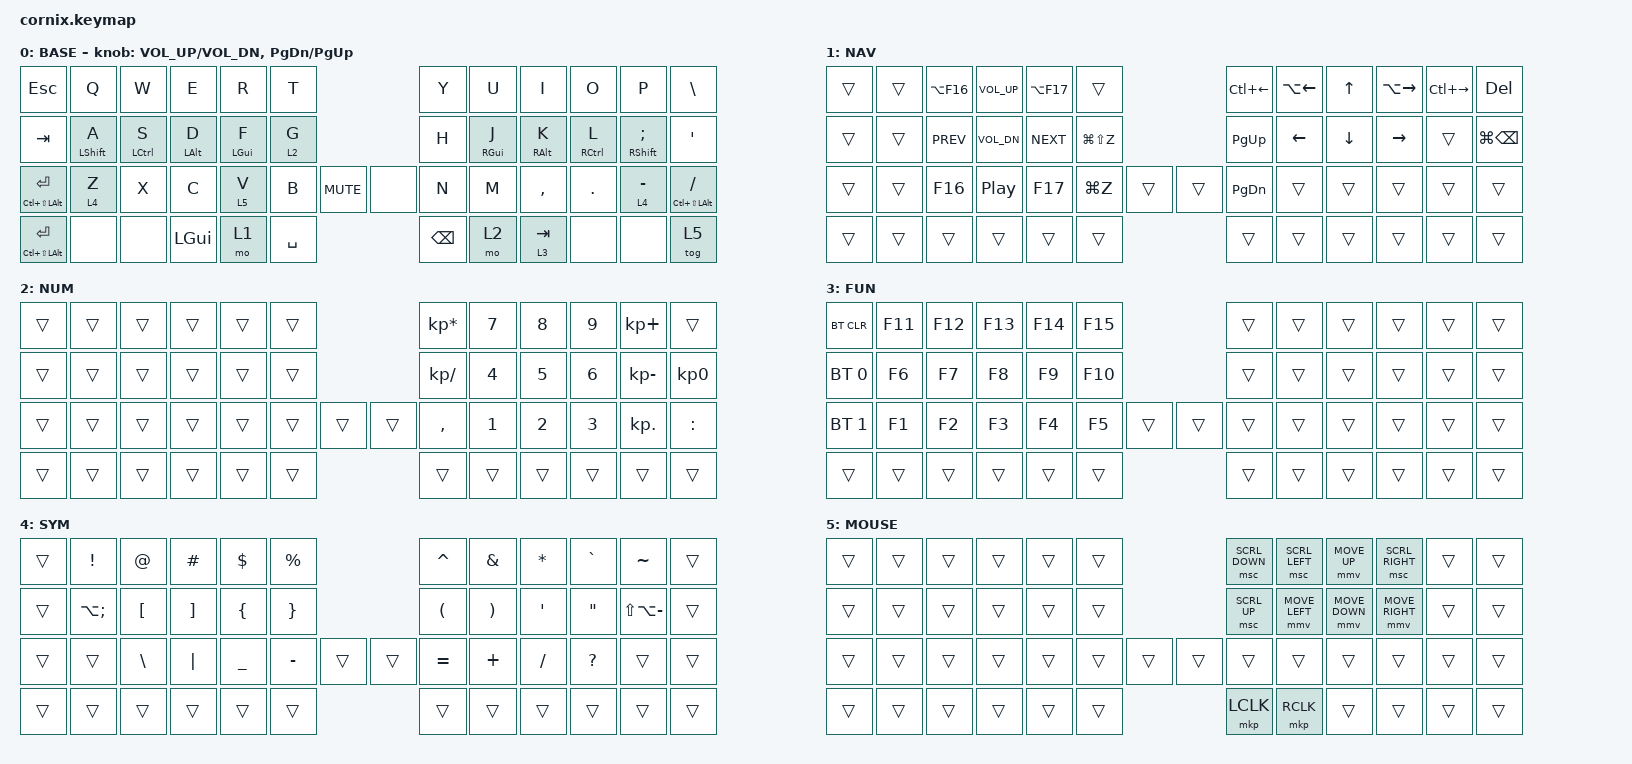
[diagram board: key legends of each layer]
/*
 * Copyright (c) 2020 The ZMK Contributors
 *
 * SPDX-License-Identifier: MIT
 */

#include <behaviors.dtsi>
#include <dt-bindings/zmk/keys.h>
#include <dt-bindings/zmk/bt.h>

/* Editor-friendly notes:
 * - Layer ids: BASE=0, NAV=1, NUM=2, FUN=3, SYM=4, MOUSE=5.
 * - Aliases expanded inline: ___=&trans, PLAY=C_PP, NEXT=C_NEXT, PREV=C_PREV,
 *   VOL_DN=C_VOL_DN, VOL_UP=C_VOL_UP, KAST=KP_ASTERISK, KPSL=KP_SLASH,
 *   MDASH=LS(LA(MINUS)), NXTB=F17, PVTB=F16, FWD=LA(F17), BCK=LA(F16),
 *   UMDO=LG(Z), REDO=LG(LS(Z)), MEH=LC(LS(LALT)).
 * - Homerow mods: custom &hml/&hmr replaced with standard &mt for editor support.
 */

#include "includes/combos.dtsi"
#include "includes/mouse.dtsi"

/ {
   keymap {
      compatible = "zmk,keymap";

      default_layer {
         display-name = "BASE";
         bindings = <
// ╭──────────────┬──────────────┬──────────────┬──────────────┬──────────────┬──────────────╮                               ╭──────────────┬──────────────┬──────────────┬──────────────┬────────────────┬──────────────╮
     &kp ESC        &kp Q          &kp W          &kp E          &kp R          &kp T                                          &kp Y          &kp U          &kp I          &kp O          &kp P            &kp BSLH   
// ├──────────────┼──────────────┼──────────────┼──────────────┼──────────────┼──────────────┤                               ├──────────────┼──────────────┼──────────────┼──────────────┼────────────────┼──────────────┤
     &kp TAB        &mt LSHFT A    &mt LCTRL S    &mt LALT D     &mt LGUI F     &lt 2 G /* editor: NUM layer */                 &kp H          &mt RGUI J     &mt RALT K     &mt RCTRL L    &mt RSHFT SEMI   &kp SQT   
// ├──────────────┼──────────────┼──────────────┼──────────────┼──────────────┼──────────────┤──────────────╮ ╭──────────────├──────────────┼──────────────┼──────────────┼──────────────┼────────────────┼──────────────┤
     &mt LC(LS(LALT)) RET /* editor: was MEH */ &lt 4 Z      &kp X          &kp C          &lt 5 V        &kp B          &kp C_MUTE       &none          &kp N          &kp M          &kp COMMA      &kp DOT        &lt 4 MINUS      &mt LC(LS(LALT)) SLASH /* editor: was MEH */
// ╰──────────────┴──────────────┴──────────────┴──────────────┼──────────────┼──────────────┤──────────────╯ ╰──────────────├──────────────┼──────────────┼──────────────┼──────────────┼────────────────┼──────────────╯
     &mt LC(LS(LALT)) RET /* editor: was MEH */ &none          &none          &kp LGUI       &mo 1 /* editor: NAV layer */     &kp SPACE                                      &kp BKSP       &mo 2 /* editor: NUM layer */ &lt 3 TAB     &none          &none            &tog 5 /* editor: MOUSE layer */
// ╰──────────────┴──────────────┴──────────────┴──────────────┴──────────────┴──────────────╯                               ╰──────────────┴──────────────┴──────────────┴──────────────┴────────────────┴──────────────╯ 
         >;
         sensor-bindings = <&inc_dec_kp C_VOL_UP C_VOL_DN &inc_dec_kp PG_DN PG_UP>;
      };


      nav_layer {
         display-name = "NAV";
         bindings = <
// ╭──────────────┬──────────────┬──────────────┬──────────────┬──────────────┬──────────────╮                               ╭──────────────┬──────────────┬──────────────┬──────────────┬──────────────┬──────────────╮
     &trans         &trans         &kp LA(F16)    &kp C_VOL_UP   &kp LA(F17)    &trans                                         &kp LC(LEFT)   &kp LA(LEFT)   &kp UP         &kp LA(RIGHT)  &kp LC(RIGHT)  &kp DEL
// ├──────────────┼──────────────┼──────────────┼──────────────┼──────────────┼──────────────┤                               ├──────────────┼──────────────┼──────────────┼──────────────┼──────────────┼──────────────┤
     &trans         &trans         &kp C_PREV     &kp C_VOL_DN   &kp C_NEXT     &kp LG(LS(Z))                                  &kp PG_UP      &kp LEFT       &kp DOWN       &kp RIGHT      &trans         &kp LG(BKSP)
// ├──────────────┼──────────────┼──────────────┼──────────────┼──────────────┼──────────────┤──────────────╮ ╭──────────────├──────────────┼──────────────┼──────────────┼──────────────┼──────────────┼──────────────┤
     &trans         &trans         &kp F16        &kp C_PP       &kp F17        &kp LG(Z)     &trans           &trans          &kp PG_DN      &trans         &trans         &trans         &trans         &trans
// ╰──────────────┴──────────────┴──────────────┴──────────────┼──────────────┼──────────────┤──────────────╯ ╰──────────────├──────────────┼──────────────┼──────────────┼──────────────┼──────────────┼──────────────╯
     &trans         &trans         &trans         &trans         &trans         &trans                                         &trans         &trans         &trans         &trans         &trans         &trans
// ╰──────────────┴──────────────┴──────────────┴──────────────┴──────────────┴──────────────╯                               ╰──────────────┴──────────────┴──────────────┴──────────────┴──────────────┴──────────────╯
         >;
      };

      numbers_layer {
         display-name = "NUM";
         bindings = <
// ╭──────────────┬──────────────┬──────────────┬──────────────┬──────────────┬──────────────╮                               ╭──────────────┬──────────────┬──────────────┬──────────────┬──────────────┬──────────────╮
     &trans         &trans         &trans         &trans         &trans         &trans                                         &kp KP_ASTERISK &kp N7         &kp N8         &kp N9         &kp KP_PLUS    &trans
// ├──────────────┼──────────────┼──────────────┼──────────────┼──────────────┼──────────────┤                               ├──────────────┼──────────────┼──────────────┼──────────────┼──────────────┼──────────────┤
     &trans         &trans         &trans         &trans         &trans         &trans                                         &kp KP_SLASH   &kp N4         &kp N5         &kp N6         &kp KP_MINUS   &kp KP_N0
// ├──────────────┼──────────────┼──────────────┼──────────────┼──────────────┼──────────────┤──────────────╮ ╭──────────────├──────────────┼──────────────┼──────────────┼──────────────┼──────────────┼──────────────┤
     &trans         &trans         &trans         &trans         &trans         &trans         &trans           &trans          &kp CMMA       &kp N1         &kp N2         &kp N3         &kp KP_DOT     &kp COLON
// ╰──────────────┴──────────────┴──────────────┴──────────────┼──────────────┼──────────────┤──────────────╯ ╰──────────────├──────────────┼──────────────┼──────────────┼──────────────┼──────────────┼──────────────╯
     &trans         &trans         &trans         &trans         &trans         &trans                                         &trans         &trans         &trans         &trans         &trans         &trans
// ╰──────────────┴──────────────┴──────────────┴──────────────┴──────────────┴──────────────╯                               ╰──────────────┴──────────────┴──────────────┴──────────────┴──────────────┴──────────────╯
         >;
      };


      function_layer {
         display-name = "FUN";
         bindings = <
// ╭──────────────┬──────────────┬──────────────┬──────────────┬──────────────┬──────────────╮                               ╭──────────────┬──────────────┬──────────────┬──────────────┬──────────────┬──────────────╮
     &bt BT_CLR     &kp F11        &kp F12        &kp F13        &kp F14        &kp F15                                        &trans         &trans         &trans         &trans         &trans         &trans
// ├──────────────┼──────────────┼──────────────┼──────────────┼──────────────┼──────────────┤                               ├──────────────┼──────────────┼──────────────┼──────────────┼──────────────┼──────────────┤
     &bt BT_SEL 0   &kp F6         &kp F7         &kp F8         &kp F9         &kp F10                                        &trans         &trans         &trans         &trans         &trans         &trans
// ├──────────────┼──────────────┼──────────────┼──────────────┼──────────────┼──────────────┤──────────────╮ ╭──────────────├──────────────┼──────────────┼──────────────┼──────────────┼──────────────┼──────────────┤
     &bt BT_SEL 1   &kp F1         &kp F2         &kp F3         &kp F4         &kp F5         &trans           &trans          &trans         &trans         &trans         &trans         &trans         &trans
// ╰──────────────┴──────────────┴──────────────┴──────────────┼──────────────┼──────────────┤──────────────╯ ╰──────────────├──────────────┼──────────────┼──────────────┼──────────────┼──────────────┼──────────────╯
     &trans         &trans         &trans         &trans         &trans         &trans                                         &trans         &trans         &trans         &trans         &trans         &trans
// ╰──────────────┴──────────────┴──────────────┴──────────────┴──────────────┴──────────────╯                               ╰──────────────┴──────────────┴──────────────┴──────────────┴──────────────┴──────────────╯
         >;
      };

      symbols_layer {
         display-name = "SYM";
         bindings = <
// ╭──────────────┬──────────────┬──────────────┬──────────────┬──────────────┬──────────────╮                               ╭──────────────┬──────────────┬──────────────┬──────────────┬──────────────┬──────────────╮
     &trans         &kp EXCL       &kp AT         &kp HASH       &kp DLLR       &kp PRCNT                                      &kp CARET      &kp AMPS       &kp STAR       &kp GRAVE      &kp TILDE      &trans
// ├──────────────┼──────────────┼──────────────┼──────────────┼──────────────┼──────────────┤                               ├──────────────┼──────────────┼──────────────┼──────────────┼──────────────┼──────────────┤
     &trans         &kp LA(SEMI)   &kp LBKT       &kp RBKT       &kp LBRC       &kp RBRC                                       &kp LPAR       &kp RPAR       &kp SQT        &kp DQT        &kp LS(LA(MINUS)) &trans
// ├──────────────┼──────────────┼──────────────┼──────────────┼──────────────┼──────────────┤──────────────╮ ╭──────────────├──────────────┼──────────────┼──────────────┼──────────────┼──────────────┼──────────────┤
     &trans         &trans         &kp BSLH       &kp PIPE       &kp UNDER      &kp MINUS      &trans           &trans          &kp EQUAL      &kp PLUS       &kp SLASH      &kp QMARK      &trans         &trans
// ╰──────────────┴──────────────┴──────────────┴──────────────┼──────────────┼──────────────┤──────────────╯ ╰──────────────├──────────────┼──────────────┼──────────────┼──────────────┼──────────────┼──────────────╯
     &trans         &trans         &trans         &trans         &trans         &trans                                         &trans         &trans         &trans         &trans         &trans         &trans
// ╰──────────────┴──────────────┴──────────────┴──────────────┴──────────────┴──────────────╯                               ╰──────────────┴──────────────┴──────────────┴──────────────┴──────────────┴──────────────╯
         >;
      };


      mouse_layer {
         display-name = "MOUSE";
         bindings = <
// ╭──────────────┬──────────────┬──────────────┬──────────────┬──────────────┬──────────────╮                               ╭──────────────┬──────────────┬──────────────┬──────────────┬──────────────┬──────────────╮
     &trans         &trans         &trans         &trans         &trans         &trans                                         &msc SCRL_DOWN &msc SCRL_LEFT &mmv MOVE_UP   &msc SCRL_RIGHT &trans         &trans
// ├──────────────┼──────────────┼──────────────┼──────────────┼──────────────┼──────────────┤                               ├──────────────┼──────────────┼──────────────┼──────────────┼──────────────┼──────────────┤
     &trans         &trans         &trans         &trans         &trans         &trans                                         &msc SCRL_UP   &mmv MOVE_LEFT &mmv MOVE_DOWN &mmv MOVE_RIGHT &trans         &trans
// ├──────────────┼──────────────┼──────────────┼──────────────┼──────────────┼──────────────┤──────────────╮ ╭──────────────├──────────────┼──────────────┼──────────────┼──────────────┼──────────────┼──────────────┤
     &trans         &trans         &trans         &trans         &trans         &trans         &trans           &trans          &trans         &trans         &trans         &trans         &trans         &trans
// ╰──────────────┴──────────────┴──────────────┴──────────────┼──────────────┼──────────────┤──────────────╯ ╰──────────────├──────────────┼──────────────┼──────────────┼──────────────┼──────────────┼──────────────╯
     &trans         &trans         &trans         &trans         &trans         &trans                                         &mkp LCLK      &mkp RCLK      &trans         &trans         &trans         &trans
// ╰──────────────┴──────────────┴──────────────┴──────────────┴──────────────┴──────────────╯                               ╰──────────────┴──────────────┴──────────────┴──────────────┴──────────────┴──────────────╯ 
         >;
      };

   }; // END keymap
}; // END





// BLANK 
// ╭──────────────┬──────────────┬──────────────┬──────────────┬──────────────┬──────────────╮                               ╭──────────────┬──────────────┬──────────────┬──────────────┬──────────────┬──────────────╮
//   ___            ___            ___            ___            ___            ___                                            ___            ___            ___            ___            ___            ___   
// ├──────────────┼──────────────┼──────────────┼──────────────┼──────────────┼──────────────┤                               ├──────────────┼──────────────┼──────────────┼──────────────┼──────────────┼──────────────┤
//   ___            ___            ___            ___            ___            ___                                            ___            ___            ___            ___            ___            ___   
// ├──────────────┼──────────────┼──────────────┼──────────────┼──────────────┼──────────────┤──────────────╮ ╭──────────────├──────────────┼──────────────┼──────────────┼──────────────┼──────────────┼──────────────┤
//   ___            ___            ___            ___            ___            ___            ___              ___            ___            ___            ___            ___            ___            ___   
// ╰──────────────┴──────────────┴──────────────┴──────────────┼──────────────┼──────────────┤──────────────╯ ╰──────────────├──────────────┼──────────────┼──────────────┼──────────────┼──────────────┼──────────────╯
//   ___            ___            ___            ___            ___            ___                                            ___            ___            ___            ___            ___            ___
// ╰──────────────┴──────────────┴──────────────┴──────────────┴──────────────┴──────────────╯                               ╰──────────────┴──────────────┴──────────────┴──────────────┴──────────────┴──────────────╯ 
